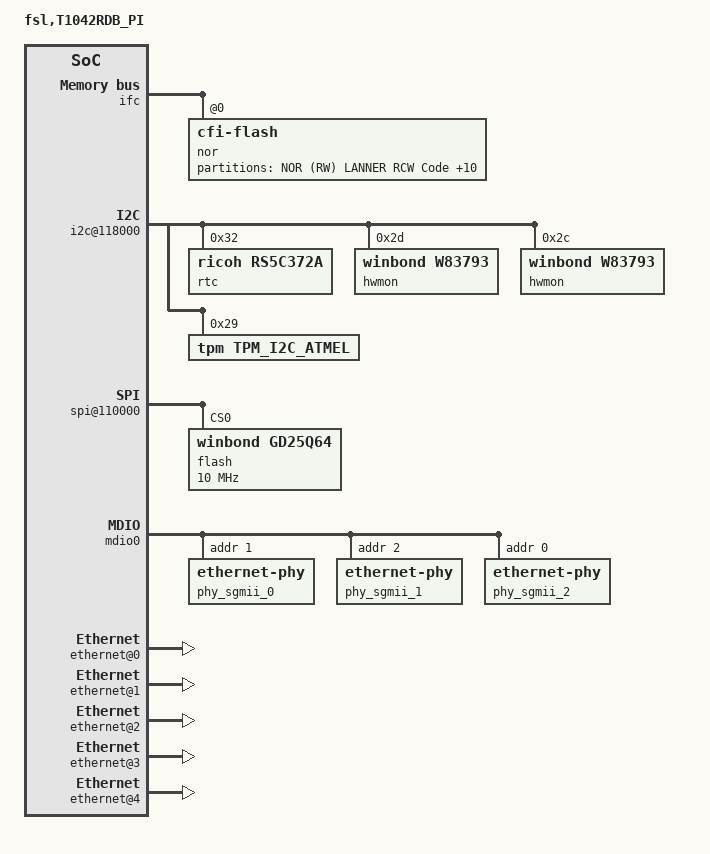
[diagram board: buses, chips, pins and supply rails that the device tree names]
/*
 * T1042RDB_PI Device Tree Source
 *
 * Copyright 2014 Freescale Semiconductor Inc.
 *
 * Redistribution and use in source and binary forms, with or without
 * modification, are permitted provided that the following conditions are met:
 *     * Redistributions of source code must retain the above copyright
 *	 notice, this list of conditions and the following disclaimer.
 *     * Redistributions in binary form must reproduce the above copyright
 *	 notice, this list of conditions and the following disclaimer in the
 *	 documentation and/or other materials provided with the distribution.
 *     * Neither the name of Freescale Semiconductor nor the
 *	 names of its contributors may be used to endorse or promote products
 *	 derived from this software without specific prior written permission.
 *
 *
 * ALTERNATIVELY, this software may be distributed under the terms of the
 * GNU General Public License ("GPL") as published by the Free Software
 * Foundation, either version 2 of that License or (at your option) any
 * later version.
 *
 * THIS SOFTWARE IS PROVIDED BY Freescale Semiconductor "AS IS" AND ANY
 * EXPRESS OR IMPLIED WARRANTIES, INCLUDING, BUT NOT LIMITED TO, THE IMPLIED
 * WARRANTIES OF MERCHANTABILITY AND FITNESS FOR A PARTICULAR PURPOSE ARE
 * DISCLAIMED. IN NO EVENT SHALL Freescale Semiconductor BE LIABLE FOR ANY
 * DIRECT, INDIRECT, INCIDENTAL, SPECIAL, EXEMPLARY, OR CONSEQUENTIAL DAMAGES
 * (INCLUDING, BUT NOT LIMITED TO, PROCUREMENT OF SUBSTITUTE GOODS OR SERVICES;
 * LOSS OF USE, DATA, OR PROFITS; OR BUSINESS INTERRUPTION) HOWEVER CAUSED AND
 * ON ANY THEORY OF LIABILITY, WHETHER IN CONTRACT, STRICT LIABILITY, OR TORT
 * (INCLUDING NEGLIGENCE OR OTHERWISE) ARISING IN ANY WAY OUT OF THE USE OF THIS
 * SOFTWARE, EVEN IF ADVISED OF THE POSSIBILITY OF SUCH DAMAGE.
 */

/include/ "fsl/t104xsi-pre.dtsi"

/ {
	model = "fsl,T1042RDB_PI";
	compatible = "fsl,T1042RDB_PI";
	#address-cells = <2>;
	#size-cells = <2>;
	interrupt-parent = <&mpic>;

	aliases {
		phy_sgmii_0 = &phy_sgmii_0;
		phy_sgmii_1 = &phy_sgmii_1;
		phy_sgmii_2 = &phy_sgmii_2;
	};

	ifc: localbus@ffe124000 {
		reg = <0xf 0xfe124000 0 0x2000>;
		ranges = <0 0 0xf 0xefc00000 0x00400000>;

		nor@0,0 {
			#address-cells = <1>;
			#size-cells = <1>;
			compatible = "cfi-flash";
			reg = <0x0 0x0 0x400000>;
			bank-width = <2>;
			device-width = <1>;
			partition@00000000 {
				/*64KB*/
				reg = <0x00000000 0x00010000>;
				label = "NOR (RW) LANNER RCW Code";
			};

			partition@00010000 {
				/*128KB*/
				reg = <0x00010000 0x00020000>;
				label = "NOR (RW) WG CFG0";
			};

			partition@00030000 {
				/*64KB*/
				reg = <0x00030000 0x00010000>;
				label = "NOR (RW) WG CFG1";
			};

			partition@00040000 {
				/*64KB*/
				reg = <0x00040000 0x00010000>;
				label = "NOR (RW) WG MFG DATA";
			};

			partition@00050000 {
				/*704KB*/
				reg = <0x00050000 0x000B0000>;
				label = "NOR (RW) WG bootOpt Data & reserved";
			};

			partition@00100000 {
				/*704KB*/
				reg = <0x00100000 0x000B0000>;
				label = "NOR (RW) WG extra reserved 1";
			};

			partition@001B0000 {
				/*64KB*/
				reg = <0x001B0000 0x000B0000>;
				label = "NOR (RW) WG extra reserved 2";
			};

			partition@00260000 {
				/*768KB*/
				reg = <0x00260000 0x000C0000>;
				label = "NOR (RW) WG U-Boot FAILSAFE";
			};

			partition@00320000 {
				/*64KB*/
				reg = <0x00320000 0x00010000>;
				label = "NOR (RW) FMAN";
			};

			partition@00330000 {
				/*64KB*/
				reg = <0x00330000 0x00010000>;
				label = "NOR (RW) WG U-Boot ENV";
			};

			partition@00340000 {
				/*768KB*/
				reg = <0x00340000 0x000C0000>;
				label = "NOR (RW) WG U-Boot Image";
			};

		};

	};

	memory {
		device_type = "memory";
	};

	dcsr: dcsr@f00000000 {
		ranges = <0x00000000 0xf 0x00000000 0x01072000>;
	};

	bportals: bman-portals@ff4000000 {
		ranges = <0x0 0xf 0xf4000000 0x2000000>;
	};

	qportals: qman-portals@ff6000000 {
		ranges = <0x0 0xf 0xf6000000 0x2000000>;
	};

	soc: soc@ffe000000 {
		ranges = <0x00000000 0xf 0xfe000000 0x1000000>;
		reg = <0xf 0xfe000000 0 0x00001000>;

		i2c@118000 {
			rtc@32 {
				compatible = "ricoh,rs5c372a";
				reg = <0x32>;
			};
			hwmon@2d {
				compatible = "winbond,w83793";
				reg = <0x2d>;
			};
			hwmon@2c {
				compatible = "winbond,w83793";
				reg = <0x2c>;
			};
			tpm@29 {
                                compatible = "tpm,tpm_i2c_atmel";
                                reg = <0x29>;
			};
		};

		i2c@118100 {
		};

		spi@110000 {
			flash@0 {
				#address-cells = <1>;
				#size-cells = <1>;
				compatible = "winbond,gd25q64";
				reg = <0>;
				spi-max-frequency = <10000000>; /* input clock */
			};
		};

		fman0: fman@400000 {
			sleep = <&rcpm 0x00000008>;

			enet0: ethernet@e4000 {
                                phy-handle = <&phy_sgmii_2>;
                                phy-connection-type = "sgmii";
				sleep = <&rcpm 0x20000000>;
			};

			enet1: ethernet@e0000 {
                                phy-handle = <&phy_sgmii_0>;
                                phy-connection-type = "sgmii";
				sleep = <&rcpm 0x80000000>;
			};

			enet2: ethernet@e2000 {
                                phy-handle = <&phy_sgmii_1>;
                                phy-connection-type = "sgmii";
				sleep = <&rcpm 0x40000000>;
			};

			enet3: ethernet@e6000 {
				fixed-link = <0x10 1 1000 0 0>;
				phy-connection-type = "rgmii";
				sleep = <&rcpm 0x10000000>;
			};

			enet4: ethernet@e8000 {
				fixed-link = <4 1 1000 0 0>;
				phy-connection-type = "rgmii";
				sleep = <&rcpm 0x08000000>;
			};

			mdio0: mdio@fc000 {
                                phy_sgmii_0: ethernet-phy@01 {
                                        reg = <0x01>;
                                };
                                phy_sgmii_1: ethernet-phy@02 {
                                        reg = <0x02>;
                                };
                                phy_sgmii_2: ethernet-phy@03 {
                                        reg = <0x00>;
                                };
			};
		};
	};

	qe: qe@ffe140000 {
		ranges = <0x0 0xf 0xfe140000 0x40000>;
		reg = <0xf 0xfe140000 0 0x480>;
		brg-frequency = <0>;
		bus-frequency = <0>;
	};

	pci0: pcie@ffe240000 {
		reg = <0xf 0xfe240000 0 0x10000>;
		ranges = <0x02000000 0 0xe0000000 0xc 0x00000000 0x0 0x10000000
			  0x01000000 0 0x00000000 0xf 0xf8000000 0x0 0x00010000>;
		pcie@0 {
			ranges = <0x02000000 0 0xe0000000
				  0x02000000 0 0xe0000000
				  0 0x10000000

				  0x01000000 0 0x00000000
				  0x01000000 0 0x00000000
				  0 0x00010000>;
		};
	};

	pci1: pcie@ffe250000 {
		reg = <0xf 0xfe250000 0 0x10000>;
		ranges = <0x02000000 0x0 0xe0000000 0xc 0x10000000 0x0 0x10000000
			  0x01000000 0x0 0x00000000 0xf 0xf8010000 0x0 0x00010000>;
		pcie@0 {
			ranges = <0x02000000 0 0xe0000000
				  0x02000000 0 0xe0000000
				  0 0x10000000

				  0x01000000 0 0x00000000
				  0x01000000 0 0x00000000
				  0 0x00010000>;
		};
	};

	pci2: pcie@ffe260000 {
		reg = <0xf 0xfe260000 0 0x10000>;
		ranges = <0x02000000 0 0xe0000000 0xc 0x20000000 0 0x10000000
			  0x01000000 0 0x00000000 0xf 0xf8020000 0 0x00010000>;
		pcie@0 {
			ranges = <0x02000000 0 0xe0000000
				  0x02000000 0 0xe0000000
				  0 0x10000000

				  0x01000000 0 0x00000000
				  0x01000000 0 0x00000000
				  0 0x00010000>;
		};
	};

	pci3: pcie@ffe270000 {
		reg = <0xf 0xfe270000 0 0x10000>;
		ranges = <0x02000000 0 0xe0000000 0xc 0x30000000 0 0x10000000
			  0x01000000 0 0x00000000 0xf 0xf8030000 0 0x00010000>;
		pcie@0 {
			ranges = <0x02000000 0 0xe0000000
				  0x02000000 0 0xe0000000
				  0 0x10000000

				  0x01000000 0 0x00000000
				  0x01000000 0 0x00000000
				  0 0x00010000>;
		};
	};

	fsl,dpaa {
		compatible = "fsl,t1042-dpaa", "fsl,dpaa";
                ethernet@0 {
                        compatible = "fsl,t1040-dpa-ethernet", "fsl,dpa-ethernet";
                        fsl,fman-mac = <&enet0>;
                };
                ethernet@1 {
                        compatible = "fsl,t1040-dpa-ethernet", "fsl,dpa-ethernet";
                        fsl,fman-mac = <&enet1>;
                };
                ethernet@2 {
                        compatible = "fsl,t1040-dpa-ethernet", "fsl,dpa-ethernet";
                        fsl,fman-mac = <&enet2>;
                };
		ethernet@3 {
			compatible = "fsl,t1042-dpa-ethernet", "fsl,dpa-ethernet";
			fsl,fman-mac = <&enet3>;
		};
		ethernet@4 {
			compatible = "fsl,t1042-dpa-ethernet", "fsl,dpa-ethernet";
			fsl,fman-mac = <&enet4>;
		};
	};
};
/include/ "fsl/m200-post.dtsi"
/include/ "fsl/qoriq-dpaa-res3.dtsi"
